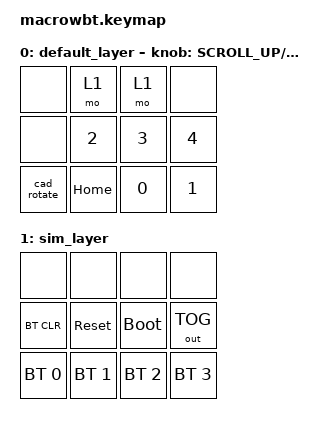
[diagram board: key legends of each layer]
#include <behaviors.dtsi>
#include <dt-bindings/zmk/bt.h>
#include <dt-bindings/zmk/keys.h>
#include <dt-bindings/zmk/mouse.h>
#include <dt-bindings/zmk/outputs.h>

#define BASE 0
#define BT_LAYER 1

/ {
    macros {
        cad_rotate: cad_rotate {
            compatible = "zmk,behavior-macro";
            #binding-cells = <0>;
            bindings = <&mkp MCLK &mkp RCLK>;
            label = "CAD_ROTATE";
        };
    };

    keymap {
        compatible = "zmk,keymap";

        default_layer {
            bindings = <
&none        &mo 1     &mo 1   &none
&none        &kp N2    &kp N3  &kp N4
&cad_rotate  &kp HOME  &kp N0  &kp N1
            >;

            sensor-bindings =
                <&inc_dec_kp K_SCROLL_UP K_SCROLL_DOWN>,
                <&inc_dec_kp PAGE_UP PAGE_DOWN>;
        };

        sim_layer {
            bindings = <
&none         &none         &none         &none
&bt BT_CLR    &sys_reset    &bootloader   &out OUT_TOG
&bt BT_SEL 0  &bt BT_SEL 1  &bt BT_SEL 2  &bt BT_SEL 3
            >;
        };
    };
};
